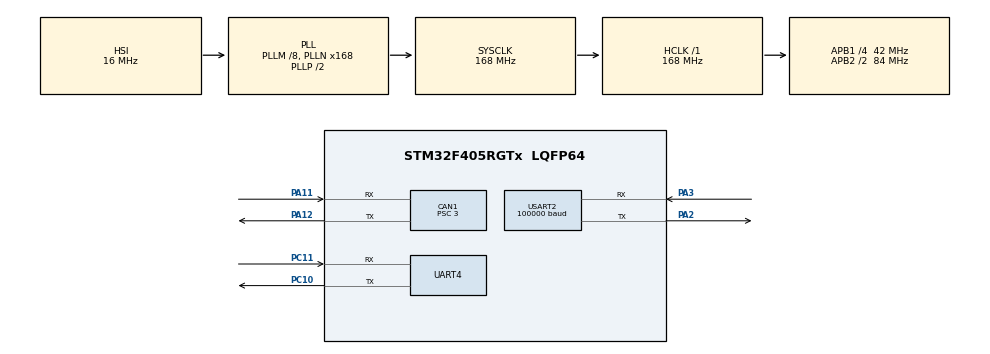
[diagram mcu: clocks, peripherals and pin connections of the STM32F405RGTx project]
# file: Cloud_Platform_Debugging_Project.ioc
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CAN1.BS1=CAN_BS1_9TQ
CAN1.BS2=CAN_BS2_4TQ
CAN1.CalculateBaudRate=1000000
CAN1.CalculateTimeBit=1000
CAN1.CalculateTimeQuantum=71.42857142857143
CAN1.Prescaler=3
Dma.Request0=UART4_RX
Dma.Request1=UART4_TX
Dma.Request2=USART2_RX
Dma.UART4_RX.0.Direction=DMA_PERIPH_TO_MEMORY
Dma.UART4_RX.0.FIFOMode=DMA_FIFOMODE_DISABLE
Dma.UART4_RX.0.Instance=DMA1_Stream2
Dma.UART4_RX.0.MemDataAlignment=DMA_MDATAALIGN_BYTE
Dma.UART4_RX.0.MemInc=DMA_MINC_ENABLE
Dma.UART4_RX.0.Mode=DMA_NORMAL
Dma.UART4_RX.0.PeriphDataAlignment=DMA_PDATAALIGN_BYTE
Dma.UART4_RX.0.PeriphInc=DMA_PINC_DISABLE
Dma.UART4_RX.0.Priority=DMA_PRIORITY_LOW
Dma.UART4_TX.1.Direction=DMA_MEMORY_TO_PERIPH
Dma.UART4_TX.1.FIFOMode=DMA_FIFOMODE_DISABLE
Dma.UART4_TX.1.Instance=DMA1_Stream4
Dma.UART4_TX.1.MemDataAlignment=DMA_MDATAALIGN_BYTE
Dma.UART4_TX.1.MemInc=DMA_MINC_ENABLE
Dma.UART4_TX.1.Mode=DMA_NORMAL
Dma.UART4_TX.1.PeriphDataAlignment=DMA_PDATAALIGN_BYTE
Dma.UART4_TX.1.PeriphInc=DMA_PINC_DISABLE
Dma.UART4_TX.1.Priority=DMA_PRIORITY_LOW
Dma.USART2_RX.2.Direction=DMA_PERIPH_TO_MEMORY
Dma.USART2_RX.2.FIFOMode=DMA_FIFOMODE_DISABLE
Dma.USART2_RX.2.Instance=DMA1_Stream5
Dma.USART2_RX.2.MemDataAlignment=DMA_MDATAALIGN_BYTE
Dma.USART2_RX.2.MemInc=DMA_MINC_ENABLE
Dma.USART2_RX.2.Mode=DMA_NORMAL
Dma.USART2_RX.2.PeriphDataAlignment=DMA_PDATAALIGN_BYTE
Dma.USART2_RX.2.PeriphInc=DMA_PINC_DISABLE
Dma.USART2_RX.2.Priority=DMA_PRIORITY_LOW
FREERTOS.Queues01=Message_ByPass,16,uint16_t,0,Dynamic,NULL,NULL
FREERTOS.Tasks01=defaultTask,24,128,StartDefaultTask,Default,NULL,Dynamic,NULL,NULL;Text_Handle,8,256,StartTask02,As weak,NULL,Dynamic,NULL,NULL;Motor_Movement,8,512,StartTask03,As weak,NULL,Dynamic,NULL,NULL;Vofa_Data,8,128,StartTask04,As weak,NULL,Dynamic,NULL,NULL
Mcu.Family=STM32F4
Mcu.Name=STM32F405RGTx
Mcu.Package=LQFP64
NVIC.DMA1_Stream2_IRQn=true\:5\:0\:false\:false\:true\:true\:false\:true\:true
NVIC.DMA1_Stream4_IRQn=true\:5\:0\:false\:false\:true\:true\:false\:true\:true
NVIC.DMA1_Stream5_IRQn=true\:5\:0\:false\:false\:true\:true\:false\:true\:true
NVIC.PriorityGroup=NVIC_PRIORITYGROUP_4
NVIC.TIM1_UP_TIM10_IRQn=true\:15\:0\:false\:false\:true\:false\:false\:true\:true
NVIC.TimeBase=TIM1_UP_TIM10_IRQn
NVIC.TimeBaseIP=TIM1
NVIC.UART4_IRQn=true\:5\:0\:false\:false\:true\:true\:false\:true\:true
PA11.Mode=CAN_Activate
PA11.Signal=CAN1_RX
PA12.Mode=CAN_Activate
PA12.Signal=CAN1_TX
PA13.Mode=Serial_Wire
PA13.Signal=SYS_JTMS-SWDIO
PA14.Mode=Serial_Wire
PA14.Signal=SYS_JTCK-SWCLK
PA2.Mode=Asynchronous
PA2.Signal=USART2_TX
PA3.Mode=Asynchronous
PA3.Signal=USART2_RX
PC10.Mode=Asynchronous
PC10.Signal=UART4_TX
PC11.Mode=Asynchronous
PC11.Signal=UART4_RX
PH0-OSC_IN.Mode=HSE-External-Oscillator
PH0-OSC_IN.Signal=RCC_OSC_IN
PH1-OSC_OUT.Mode=HSE-External-Oscillator
PH1-OSC_OUT.Signal=RCC_OSC_OUT
ProjectManager.HeapSize=0x200
ProjectManager.StackSize=0x400
ProjectManager.TargetToolchain=MDK-ARM V5.32
RCC.48MHZClocksFreq_Value=84000000
RCC.AHBFreq_Value=168000000
RCC.APB1CLKDivider=RCC_HCLK_DIV4
RCC.APB1Freq_Value=42000000
RCC.APB1TimFreq_Value=84000000
RCC.APB2CLKDivider=RCC_HCLK_DIV2
RCC.APB2Freq_Value=84000000
RCC.APB2TimFreq_Value=168000000
RCC.CortexFreq_Value=168000000
RCC.HCLKFreq_Value=168000000
RCC.HSE_VALUE=25000000
RCC.HSI_VALUE=16000000
RCC.LSE_VALUE=32768
RCC.PLLM=8
RCC.PLLN=168
RCC.SYSCLKFreq_VALUE=168000000
RCC.SYSCLKSource=RCC_SYSCLKSOURCE_PLLCLK
RCC.VCOOutputFreq_Value=336000000
UART4.VirtualMode=Asynchronous
USART2.BaudRate=100000
USART2.Parity=PARITY_EVEN
USART2.StopBits=STOPBITS_2
USART2.VirtualMode=VM_ASYNC
USART2.WordLength=WORDLENGTH_9B
VP_FREERTOS_VS_CMSIS_V2.Mode=CMSIS_V2
VP_SYS_VS_tim1.Mode=TIM1
board=custom

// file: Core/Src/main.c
/* USER CODE BEGIN Header */
/**
  ******************************************************************************
  * @file           : main.c
  * @brief          : Main program body
  ******************************************************************************
  * @attention
  *
  * Copyright (c) 2026 STMicroelectronics.
  * All rights reserved.
  *
  * This software is licensed under terms that can be found in the LICENSE file
  * in the root directory of this software component.
  * If no LICENSE file comes with this software, it is provided AS-IS.
  *
  ******************************************************************************
  */
/* USER CODE END Header */
#include "main.h"
#include "cmsis_os.h"
#include "can.h"
#include "dma.h"
#include "usart.h"
#include "gpio.h"

/* USER CODE BEGIN Includes */
#include "can_motor.h"
#include "PID_Controller.h"
#include "remote_control.h"
#include "usart_rxcallback.h"

/* USER CODE END Includes */

void SystemClock_Config(void);
void MX_FREERTOS_Init(void);

int main(void)
{

  /* MCU Configuration--------------------------------------------------------*/

  /* Reset of all peripherals, Initializes the Flash interface and the Systick. */
  HAL_Init();

  /* Configure the system clock */
  SystemClock_Config();

  /* Initialize all configured peripherals */
  MX_GPIO_Init();
  MX_DMA_Init();
  MX_CAN1_Init();
  MX_UART4_Init();
  MX_USART2_UART_Init();

  /* Init scheduler */
  osKernelInitialize();  /* Call init function for freertos objects (in cmsis_os2.c) */
  MX_FREERTOS_Init();

  /* Start VOFA UART4 DMA idle-line reception */
  Usart_RxCallBack_Init();
  Usart_RxCallBack_StartDmaReception();

  /* Start USART2 SBUS remote control interrupt-based reception */
  Remote_Control_Init();
  GM6020_CAN1_Init();
  PID_Controller_Init();
  /* Start scheduler */
  osKernelStart();

  /* We should never get here as control is now taken by the scheduler */

  /* Infinite loop */
  while (1)
  {

  }
}

void SystemClock_Config(void)
{
  RCC_OscInitTypeDef RCC_OscInitStruct = {0};
  RCC_ClkInitTypeDef RCC_ClkInitStruct = {0};

  /** Configure the main internal regulator output voltage
  */
  __HAL_RCC_PWR_CLK_ENABLE();
  __HAL_PWR_VOLTAGESCALING_CONFIG(PWR_REGULATOR_VOLTAGE_SCALE1);

  /** Initializes the RCC Oscillators according to the specified parameters
  * in the RCC_OscInitTypeDef structure.
  */
  RCC_OscInitStruct.OscillatorType = RCC_OSCILLATORTYPE_HSI;
  RCC_OscInitStruct.HSIState = RCC_HSI_ON;
  RCC_OscInitStruct.HSICalibrationValue = RCC_HSICALIBRATION_DEFAULT;
  RCC_OscInitStruct.PLL.PLLState = RCC_PLL_ON;
  RCC_OscInitStruct.PLL.PLLSource = RCC_PLLSOURCE_HSI;
  RCC_OscInitStruct.PLL.PLLM = 8;
  RCC_OscInitStruct.PLL.PLLN = 168;
  RCC_OscInitStruct.PLL.PLLP = RCC_PLLP_DIV2;
  RCC_OscInitStruct.PLL.PLLQ = 4;
  if (HAL_RCC_OscConfig(&RCC_OscInitStruct) != HAL_OK)
  {
    Error_Handler();
  }

  /** Initializes the CPU, AHB and APB buses clocks
  */
  RCC_ClkInitStruct.ClockType = RCC_CLOCKTYPE_HCLK|RCC_CLOCKTYPE_SYSCLK
                              |RCC_CLOCKTYPE_PCLK1|RCC_CLOCKTYPE_PCLK2;
  RCC_ClkInitStruct.SYSCLKSource = RCC_SYSCLKSOURCE_PLLCLK;
  RCC_ClkInitStruct.AHBCLKDivider = RCC_SYSCLK_DIV1;
  RCC_ClkInitStruct.APB1CLKDivider = RCC_HCLK_DIV4;
  RCC_ClkInitStruct.APB2CLKDivider = RCC_HCLK_DIV2;

  if (HAL_RCC_ClockConfig(&RCC_ClkInitStruct, FLASH_LATENCY_5) != HAL_OK)
  {
    Error_Handler();
  }
}

/* USER CODE BEGIN 4 */

/* UART4 DMA idle-line reception callback: called by HAL when idle frame detected */
void HAL_UARTEx_RxEventCallback(UART_HandleTypeDef *huart, uint16_t Size)
{
  if (huart->Instance == UART4)
  {
    Usart_RxCallBack_ProcessRxData(Size);
  }
}

/* USER CODE END 4 */

void HAL_TIM_PeriodElapsedCallback(TIM_HandleTypeDef *htim)
{
  if (htim->Instance == TIM1)
  {
    HAL_IncTick();
  }
}

void Error_Handler(void)
{
  __disable_irq();
  while (1)
  {
  }
}

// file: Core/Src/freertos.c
/* USER CODE BEGIN Header */
/**
  ******************************************************************************
  * File Name          : freertos.c
  * Description        : Code for freertos applications
  ******************************************************************************
  * @attention
  *
  * Copyright (c) 2026 STMicroelectronics.
  * All rights reserved.
  *
  * This software is licensed under terms that can be found in the LICENSE file
  * in the root directory of this software component.
  * If no LICENSE file comes with this software, it is provided AS-IS.
  *
  ******************************************************************************
  */
/* USER CODE END Header */

#include "FreeRTOS.h"
#include "task.h"
#include "main.h"
#include "cmsis_os.h"

/* USER CODE BEGIN Includes */
#include "app_task.h"

/* USER CODE END Includes */

/* USER CODE BEGIN Variables */

osMessageQueueId_t App_TargetAngleQueueHandle;
const osMessageQueueAttr_t App_TargetAngleQueue_attributes = {
  .name = "App_TargetAngleQueue"
};

osMessageQueueId_t App_VofaQueueHandle;
const osMessageQueueAttr_t App_VofaQueue_attributes = {
  .name = "App_VofaQueue"
};

/* USER CODE END Variables */
/* Definitions for defaultTask */
osThreadId_t defaultTaskHandle;
const osThreadAttr_t defaultTask_attributes = {
  .name = "defaultTask",
  .stack_size = 128 * 4,
  .priority = (osPriority_t) osPriorityNormal,
};
/* Definitions for Text_Handle */
osThreadId_t Text_HandleHandle;
const osThreadAttr_t Text_Handle_attributes = {
  .name = "Text_Handle",
  .stack_size = 256 * 4,
  .priority = (osPriority_t) osPriorityLow,
};
/* Definitions for Motor_Movement */
osThreadId_t Motor_MovementHandle;
const osThreadAttr_t Motor_Movement_attributes = {
  .name = "Motor_Movement",
  .stack_size = 512 * 4,
  .priority = (osPriority_t) osPriorityLow,
};
/* Definitions for Vofa_Data */
osThreadId_t Vofa_DataHandle;
const osThreadAttr_t Vofa_Data_attributes = {
  .name = "Vofa_Data",
  .stack_size = 128 * 4,
  .priority = (osPriority_t) osPriorityLow,
};
/* Definitions for Message_ByPass */
osMessageQueueId_t Message_ByPassHandle;
const osMessageQueueAttr_t Message_ByPass_attributes = {
  .name = "Message_ByPass"
};

void StartDefaultTask(void *argument);
void StartTask02(void *argument);
void StartTask03(void *argument);
void StartTask04(void *argument);

void MX_FREERTOS_Init(void); /* (MISRA C 2004 rule 8.1) */

void MX_FREERTOS_Init(void) {

  /* Create the queue(s) */
  /* creation of Message_ByPass */
  Message_ByPassHandle = osMessageQueueNew (16, sizeof(uint16_t), &Message_ByPass_attributes);
  /* creation of App_TargetAngleQueue */
  App_TargetAngleQueueHandle = osMessageQueueNew(8, sizeof(App_TargetAngleMessage_t), &App_TargetAngleQueue_attributes);
  /* creation of App_VofaQueue */
  App_VofaQueueHandle = osMessageQueueNew(8, sizeof(App_VofaMessage_t), &App_VofaQueue_attributes);

  /* Create the thread(s) */
  /* creation of defaultTask */
  defaultTaskHandle = osThreadNew(StartDefaultTask, NULL, &defaultTask_attributes);

  /* creation of Text_Handle */
  Text_HandleHandle = osThreadNew(StartTask02, NULL, &Text_Handle_attributes);

  /* creation of Motor_Movement */
  Motor_MovementHandle = osThreadNew(StartTask03, NULL, &Motor_Movement_attributes);

  /* creation of Vofa_Data */
  Vofa_DataHandle = osThreadNew(StartTask04, NULL, &Vofa_Data_attributes);

}

void StartDefaultTask(void *argument)
{
  for(;;)
  {
    osDelay(1);
  }
}

__weak void StartTask02(void *argument)
{
  for(;;)
  {
    osDelay(1);
  }
}

__weak void StartTask03(void *argument)
{
  for(;;)
  {
    osDelay(1);
  }
}

__weak void StartTask04(void *argument)
{
  for(;;)
  {
    osDelay(1);
  }
}
